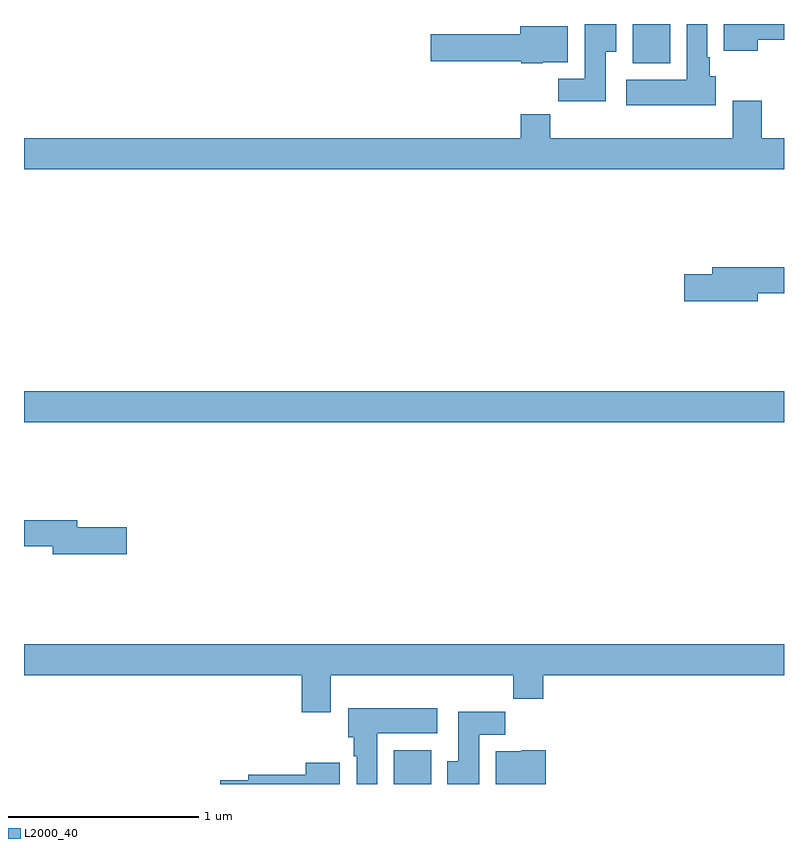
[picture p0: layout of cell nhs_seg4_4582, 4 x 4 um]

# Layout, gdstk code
import gdstk
lib = gdstk.Library(unit=1e-6, precision=1e-09)
def R(c, l, rs):  # rectangles x0, y0, x1, y1
    for r in rs: c.add(gdstk.rectangle(r[:2], r[2:], *l))
def P(c, l, *ps):  # polygons
    for p in ps: c.add(gdstk.Polygon(p, *l))
L2000_40 = (2000, 40)

nhs_seg4_4582 = lib.new_cell('nhs_seg4_4582')
R(nhs_seg4_4582, L2000_40, [(358.946,810.9,359.143,811.078), (357,812.804,361,812.968), (360.203,814.694,360.4,814.9)])
P(nhs_seg4_4582, L2000_40, [(360.061,814.753),(360.118,814.753),(360.118,814.9),(359.951,814.9),(359.951,814.612),(359.812,814.612),(359.812,814.494),(360.061,814.494)],
  [(360.862,814.816),(361,814.816),(361,814.9),(360.683,814.9),(360.683,814.76),(360.862,814.76)],
  [(360.64,814.626),(360.61,814.626),(360.61,814.726),(360.595,814.726),(360.595,814.9),(360.488,814.9),(360.488,814.606),(360.171,814.606),(360.171,814.472),(360.64,814.472)],
  [(359.73,814.7),(359.863,814.7),(359.863,814.888),(359.612,814.888),(359.612,814.847),(359.142,814.847),(359.142,814.705),(359.616,814.705),(359.616,814.694),(359.73,814.694)],
  [(361,814.3),(360.884,814.3),(360.884,814.495),(360.731,814.495),(360.731,814.3),(359.771,814.3),(359.771,814.424),(359.615,814.424),(359.615,814.3),(357,814.3),(357,814.136),(361,814.136)],
  [(360.862,813.484),(361,813.484),(361,813.62),(360.623,813.62),(360.623,813.584),(360.474,813.584),(360.474,813.442),(360.862,813.442)],
  [(357.541,812.252),(357.28,812.252),(357.28,812.288),(357,812.288),(357,812.152),(357.152,812.152),(357.152,812.11),(357.541,812.11)],
  [(358.615,811.472),(359.575,811.472),(359.575,811.348),(359.732,811.348),(359.732,811.472),(361,811.472),(361,811.636),(357,811.636),(357,811.472),(358.463,811.472),(358.463,811.278),(358.615,811.278)],
  [(358.858,811.166),(359.176,811.166),(359.176,811.3),(358.706,811.3),(358.706,811.146),(358.736,811.146),(358.736,811.046),(358.751,811.046),(358.751,810.9),(358.858,810.9)],
  [(359.395,811.16),(359.534,811.16),(359.534,811.279),(359.285,811.279),(359.285,811.02),(359.228,811.02),(359.228,810.9),(359.395,810.9)],
  [(359.747,811.078),(359.616,811.078),(359.616,811.072),(359.483,811.072),(359.483,810.9),(359.747,810.9)],
  [(358.663,811.012),(358.484,811.012),(358.484,810.95),(358.181,810.95),(358.181,810.92),(358.032,810.92),(358.032,810.9),(358.663,810.9)])

lib.write_gds('nhs_seg4_4582.gds')
